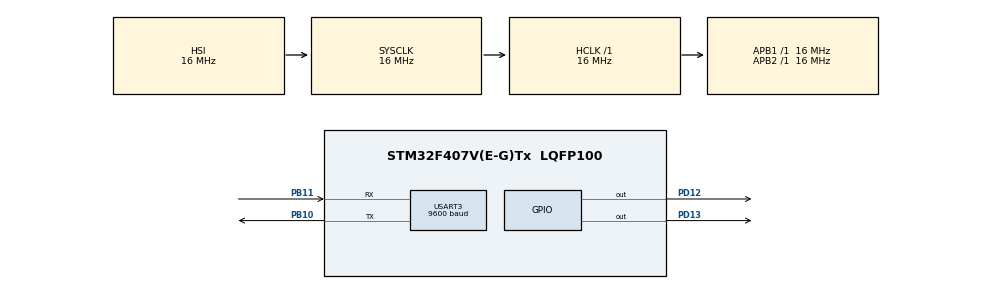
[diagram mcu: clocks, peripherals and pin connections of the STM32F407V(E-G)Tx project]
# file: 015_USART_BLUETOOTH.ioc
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Mcu.Family=STM32F4
Mcu.Name=STM32F407V(E-G)Tx
Mcu.Package=LQFP100
NVIC.PriorityGroup=NVIC_PRIORITYGROUP_4
PB10.Mode=Asynchronous
PB10.Signal=USART3_TX
PB11.Mode=Asynchronous
PB11.Signal=USART3_RX
PD12.Signal=GPIO_Output
PD13.Signal=GPIO_Output
ProjectManager.HeapSize=0x200
ProjectManager.StackSize=0x400
ProjectManager.TargetToolchain=STM32CubeIDE
RCC.AHBFreq_Value=16000000
RCC.APB1Freq_Value=16000000
RCC.APB2Freq_Value=16000000
RCC.CortexFreq_Value=16000000
RCC.HSE_VALUE=25000000
RCC.HSI_VALUE=16000000
RCC.LSE_VALUE=32768
RCC.SYSCLKFreq_VALUE=16000000
RCC.VCOOutputFreq_Value=192000000
USART3.BaudRate=9600
USART3.VirtualMode=VM_ASYNC
board=custom

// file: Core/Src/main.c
/* USER CODE BEGIN Header */
/**
  ******************************************************************************
  * @file           : main.c
  * @brief          : Main program body
  ******************************************************************************
  * @attention
  *
  * Copyright (c) 2023 STMicroelectronics.
  * All rights reserved.
  *
  * This software is licensed under terms that can be found in the LICENSE file
  * in the root directory of this software component.
  * If no LICENSE file comes with this software, it is provided AS-IS.
  *
  ******************************************************************************
  */
/* USER CODE END Header */
#include "main.h"

/* USER CODE BEGIN Includes */
#include "stdbool.h"
#include "stdio.h"
char rx_buff[50];
char tx_buff[50];
bool led_state = false;

/* USER CODE END Includes */

UART_HandleTypeDef huart3;

void SystemClock_Config(void);
static void MX_GPIO_Init(void);
static void MX_USART3_UART_Init(void);

int main(void)
{

  /* MCU Configuration--------------------------------------------------------*/

  /* Reset of all peripherals, Initializes the Flash interface and the Systick. */
  HAL_Init();

  /* Configure the system clock */
  SystemClock_Config();

  /* Initialize all configured peripherals */
  MX_GPIO_Init();
  MX_USART3_UART_Init();

  /* Infinite loop */
  while (1)
  {

    /* USER CODE BEGIN 3 */
	  HAL_UART_Receive(&huart3, (uint8_t*)rx_buff, 50, 100);

	  if(rx_buff[0] == 'l' && rx_buff[1] == 'e' && rx_buff[2] == 'd' && rx_buff[3] == '1' &&
		 rx_buff[4] == ' ' && rx_buff[5] == 'o' && rx_buff[6] == 'n')
	  {
		  HAL_GPIO_WritePin(GPIOD, GPIO_PIN_12, SET);
		  if(led_state != true)
		  {
			  HAL_UART_Transmit(&huart3, (uint8_t*)tx_buff, sprintf(tx_buff,"LEDLER ACILDI\n"), 100);
			  led_state = true;
		  }
	  }

	  else if(rx_buff[0] == 'l' && rx_buff[1] == 'e' && rx_buff[2] == 'd' && rx_buff[3] == '1' &&
		 rx_buff[4] == ' ' && rx_buff[5] == 'o' && rx_buff[6] == 'f' && rx_buff[7] == 'f')
	  {
		  HAL_GPIO_WritePin(GPIOD, GPIO_PIN_12, RESET);
		  if(led_state != false)
		  {
			  HAL_UART_Transmit(&huart3, (uint8_t*)tx_buff, sprintf(tx_buff,"LEDLER KAPATILDI\n"), 100);
			  led_state = false;
		  }
	  }
  }
  /* USER CODE END 3 */
}

void SystemClock_Config(void)
{
  RCC_OscInitTypeDef RCC_OscInitStruct = {0};
  RCC_ClkInitTypeDef RCC_ClkInitStruct = {0};

  /** Configure the main internal regulator output voltage
  */
  __HAL_RCC_PWR_CLK_ENABLE();
  __HAL_PWR_VOLTAGESCALING_CONFIG(PWR_REGULATOR_VOLTAGE_SCALE1);

  /** Initializes the RCC Oscillators according to the specified parameters
  * in the RCC_OscInitTypeDef structure.
  */
  RCC_OscInitStruct.OscillatorType = RCC_OSCILLATORTYPE_HSI;
  RCC_OscInitStruct.HSIState = RCC_HSI_ON;
  RCC_OscInitStruct.HSICalibrationValue = RCC_HSICALIBRATION_DEFAULT;
  RCC_OscInitStruct.PLL.PLLState = RCC_PLL_NONE;
  if (HAL_RCC_OscConfig(&RCC_OscInitStruct) != HAL_OK)
  {
    Error_Handler();
  }

  /** Initializes the CPU, AHB and APB buses clocks
  */
  RCC_ClkInitStruct.ClockType = RCC_CLOCKTYPE_HCLK|RCC_CLOCKTYPE_SYSCLK
                              |RCC_CLOCKTYPE_PCLK1|RCC_CLOCKTYPE_PCLK2;
  RCC_ClkInitStruct.SYSCLKSource = RCC_SYSCLKSOURCE_HSI;
  RCC_ClkInitStruct.AHBCLKDivider = RCC_SYSCLK_DIV1;
  RCC_ClkInitStruct.APB1CLKDivider = RCC_HCLK_DIV1;
  RCC_ClkInitStruct.APB2CLKDivider = RCC_HCLK_DIV1;

  if (HAL_RCC_ClockConfig(&RCC_ClkInitStruct, FLASH_LATENCY_0) != HAL_OK)
  {
    Error_Handler();
  }
}

static void MX_USART3_UART_Init(void)
{

  huart3.Instance = USART3;
  huart3.Init.BaudRate = 9600;
  huart3.Init.WordLength = UART_WORDLENGTH_8B;
  huart3.Init.StopBits = UART_STOPBITS_1;
  huart3.Init.Parity = UART_PARITY_NONE;
  huart3.Init.Mode = UART_MODE_TX_RX;
  huart3.Init.HwFlowCtl = UART_HWCONTROL_NONE;
  huart3.Init.OverSampling = UART_OVERSAMPLING_16;
  if (HAL_UART_Init(&huart3) != HAL_OK)
  {
    Error_Handler();
  }

}

static void MX_GPIO_Init(void)
{
  GPIO_InitTypeDef GPIO_InitStruct = {0};

  /* GPIO Ports Clock Enable */
  __HAL_RCC_GPIOB_CLK_ENABLE();
  __HAL_RCC_GPIOD_CLK_ENABLE();

  /*Configure GPIO pin Output Level */
  HAL_GPIO_WritePin(GPIOD, GPIO_PIN_12|GPIO_PIN_13, GPIO_PIN_RESET);

  /*Configure GPIO pins : PD12 PD13 */
  GPIO_InitStruct.Pin = GPIO_PIN_12|GPIO_PIN_13;
  GPIO_InitStruct.Mode = GPIO_MODE_OUTPUT_PP;
  GPIO_InitStruct.Pull = GPIO_NOPULL;
  GPIO_InitStruct.Speed = GPIO_SPEED_FREQ_LOW;
  HAL_GPIO_Init(GPIOD, &GPIO_InitStruct);

}

void Error_Handler(void)
{
  __disable_irq();
  while (1)
  {
  }
}
